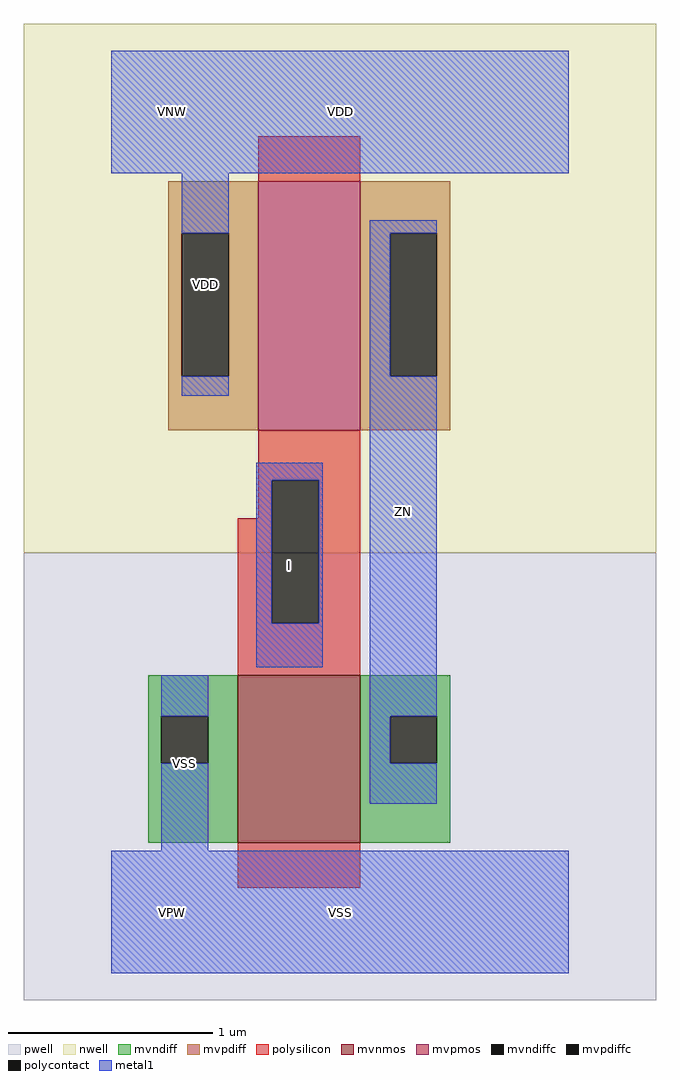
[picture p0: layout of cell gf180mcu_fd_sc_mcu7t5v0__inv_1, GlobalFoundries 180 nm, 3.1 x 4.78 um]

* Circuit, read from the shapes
.subckt gf180mcu_fd_sc_mcu7t5v0__inv_1 I ZN VDD VNW VPW VSS
XM1 ZN I VSS VPW nfet_06v0 w=0.82u l=0.6u
XM2 ZN I VDD VNW pfet_06v0 w=1.22u l=0.5u
.ends

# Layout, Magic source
magic
tech gf180mcuD
magscale 1 10
<< nwell >>
rect -86 352 534 870
<< pwell >>
rect -86 -86 534 352
<< mvnmos >>
rect 124 68 244 232
<< mvpmos >>
rect 144 472 244 716
<< mvndiff >>
rect 36 192 124 232
rect 36 146 49 192
rect 95 146 124 192
rect 36 68 124 146
rect 244 192 332 232
rect 244 146 273 192
rect 319 146 332 192
rect 244 68 332 146
<< mvpdiff >>
rect 56 665 144 716
rect 56 525 69 665
rect 115 525 144 665
rect 56 472 144 525
rect 244 665 332 716
rect 244 525 273 665
rect 319 525 332 665
rect 244 472 332 525
<< mvndiffc >>
rect 49 146 95 192
rect 273 146 319 192
<< mvpdiffc >>
rect 69 525 115 665
rect 273 525 319 665
<< polysilicon >>
rect 144 716 244 760
rect 144 423 244 472
rect 144 386 157 423
rect 124 283 157 386
rect 203 283 244 423
rect 124 232 244 283
rect 124 24 244 68
<< polycontact >>
rect 157 283 203 423
<< metal1 >>
rect 0 724 448 844
rect 69 665 115 724
rect 69 506 115 525
rect 253 665 319 678
rect 253 525 273 665
rect 142 423 207 440
rect 142 283 157 423
rect 203 283 207 423
rect 142 240 207 283
rect 49 192 95 232
rect 49 60 95 146
rect 253 192 319 525
rect 253 146 273 192
rect 253 106 319 146
rect 0 -60 448 60
<< labels >>
flabel metal1 s 49 60 95 232 0 FreeSans 400 0 0 0 VSS
port 6 nsew ground bidirectional abutment
flabel metal1 s 253 106 319 678 0 FreeSans 400 0 0 0 ZN
port 2 nsew default output
flabel metal1 s 142 240 207 440 0 FreeSans 400 0 0 0 I
port 1 nsew default input
flabel metal1 s 0 724 448 844 0 FreeSans 400 0 0 0 VDD
port 3 nsew power bidirectional abutment
flabel nwell s 10 734 110 834 0 FreeSans 400 0 0 0 VNW
port 4 nsew power bidirectional
flabel pwell s 10 -50 110 50 0 FreeSans 400 0 0 0 VPW
port 5 nsew ground bidirectional
rlabel metal1 s 69 506 115 724 1 VDD
port 3 nsew power bidirectional abutment
rlabel metal1 s 0 -60 448 60 1 VSS
port 6 nsew ground bidirectional abutment
<< properties >>
string FIXED_BBOX 0 0 448 784
string GDS_END 476332
string GDS_FILE $PDKPATH/libs.ref/gf180mcu_fd_sc_mcu7t5v0/gds/gf180mcu_fd_sc_mcu7t5v0.gds
string GDS_START 474136
string LEFclass core
string LEFsite GF018hv5v_mcu_sc7
string LEFsymmetry X Y
<< end >>
